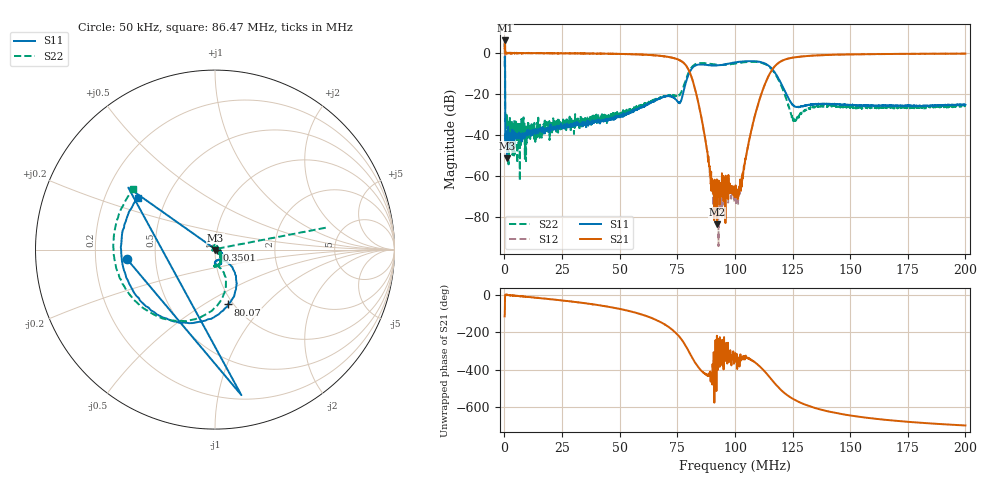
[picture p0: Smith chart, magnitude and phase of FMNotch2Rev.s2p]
! 19-Feb-26 2:30:33 PM
! E:\VNA_MEASUREMENTS\RECBLOCK\FMNOTCH2REV.S2P
! CHANNEL.1
! TR.MEASUREMENT
! CORRECTED.DATA
# GHZ S RI R 50.0
! FREQ.GHZ  S11RE  S11IM  S21RE  S21IM  S12RE  S12IM  S22RE  S22IM
!; PortSelection: Port_12
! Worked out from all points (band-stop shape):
!   2000 points, 50 kHz to 200 MHz, reference 50 ohm
!   highest |S21| = 6.10 dB at 150 kHz (marker M1); lowest = -83.6 dB at 92.27 MHz (marker M2)
!   |S21| within 3 dB of the highest: 72.3 kHz to 294.3 kHz (222 kHz wide, 121 % of centre)
!   lowest |S11| = -51.5 dB at 1.05 MHz (marker M3), VSWR 1.01, Z = 50.2 - j0.14 ohm
!   |S11| at or under -10 dB: 265.7 kHz to 80.09 MHz (79.83 MHz wide, 199 % of centre); 117.6 MHz to end of sweep
!   |S22| runs from -62.4 to 4.7 dB; largest |S21 - S12| = 2.2
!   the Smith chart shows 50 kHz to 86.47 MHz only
!   S11 on the Smith chart (normalised r, x): 50 kHz: 0.34, -0.05; 350.1 kHz: 1.02, -0.01; 80.07 MHz: 0.95, -0.64; 86.47 MHz: 0.34, +0.27
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5e-05  -0.4905 -0.0528  -0.5519 -1.17  0.9419 -0.3646  0.6278 -1.263
0.000150025  0.147 -0.8107  -0.2161 -2.006  1.336 -0.5007  -0.1904 -1.715
0.000350075  0.0101 -0.00334  1.009 0.00112  0.9963 -0.00553  0.0196 0.0064
0.00105025  0.00226 -0.0014  0.9519 -0.048  0.984 -0.0221  -0.0208 -0.0153
0.006251551  0.00953 0.00251  0.9884 -0.1274  0.98 -0.1242  0.0121 -0.000482
0.03345835  0.0178 -0.0029  0.7138 -0.6686  0.7114 -0.6639  0.0185 -0.00485
0.05506376  0.0328 -0.0171  0.00265 -0.9284  0.00146 -0.9344  0.0288 -0.025
0.06676668  0.0425 -0.0607  -0.6609 -0.5447  -0.6594 -0.5514  0.0319 -0.0696
0.07356838  0.00102 -0.0793  -0.7172 0.1913  -0.7206 0.1913  -0.00378 -0.0923
0.08007001  0.0726 -0.3055  0.2091 0.3045  0.2058 0.3047  -0.0281 -0.3472
0.08647161  -0.4317 0.2887  0.00681 -0.0108  0.00709 -0.0107  -0.4572 0.3351
0.09007251  0.13 0.4783  0.000263 -0.000498  0.000426 -0.000336  0.0833 0.5265
0.09227306  0.4214 0.2573  2.53e-05 6.11e-05  0.000456 9.55e-05  0.385 0.3409
0.100075  -0.0959 -0.5803  0.00026 0.000176  0.000368 0.000175  -0.0469 -0.549
0.1022756  -0.3895 -0.4692  0.000768 0.000282  0.000521 0.000196  -0.3607 -0.4483
0.1065766  -0.625 0.0634  0.00909 0.00258  0.00899 0.00281  -0.593 0.1117
0.1111778  -0.2375 0.5474  0.0795 -0.0401  0.0801 -0.0398  -0.1366 0.5644
0.1152788  0.2775 0.359  0.0407 -0.3217  0.042 -0.3217  0.3403 0.2765
0.1255814  0.0521 -0.00326  -0.7433 0.2368  -0.7387 0.231  0.0202 -0.0017
0.1333833  0.0539 0.00828  -0.4568 0.7266  -0.456 0.7281  0.0432 0.0194
0.1666917  0.0307 -0.0425  0.5808 0.7443  0.575 0.7411  0.038 -0.0274
0.2  0.0124 -0.0534  0.883 0.3874  0.8822 0.3829  0.0265 -0.0465
